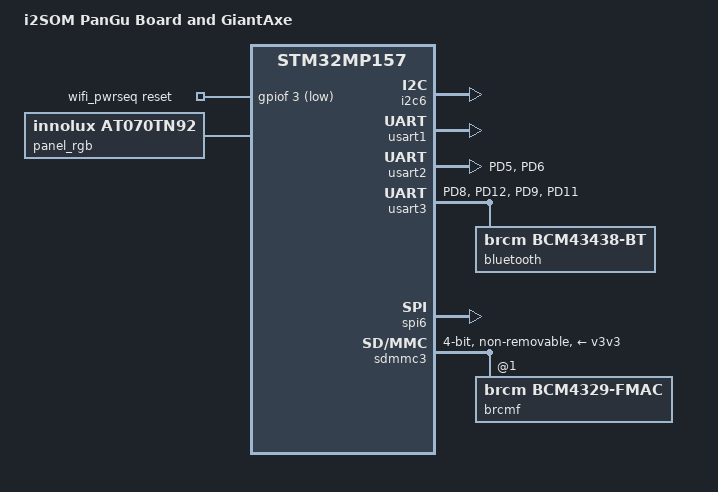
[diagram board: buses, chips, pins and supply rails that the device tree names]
// SPDX-License-Identifier: (GPL-2.0+ OR BSD-3-Clause)
/*
 * Copyright (C) i2SOM 2018 - All Rights Reserved
 * Author: Steve Chen <steve.chen@i2som.tech>.
 */

/dts-v1/;

#include "stm32mp157a-panguboard-lcd.dts"

/ {
	model = "i2SOM PanGu Board and GiantAxe";
	compatible = "i2som,panguboard", "st,stm32mp157";

	aliases {
		serial0 = &uart4;
		serial3 = &usart1;
		serial1 = &usart2;
		serial2 = &usart3;
		serial4 = &uart5;
	};

	wifi_pwrseq: wifi-pwrseq {
		compatible = "mmc-pwrseq-simple";
		reset-gpios = <&gpiof 3 GPIO_ACTIVE_LOW>;
	};
};

&panel_rgb {
	compatible = "innolux,at070tn92";
};

&pinctrl {

	usart3_pins_c: usart3-2 {
		pins1 {
			pinmux = <STM32_PINMUX('D', 8, AF7)>, /* USART3_TX */
				 <STM32_PINMUX('D', 12, AF7)>; /* USART3_RTS */
			bias-disable;
			drive-push-pull;
			slew-rate = <0>;
		};
		pins2 {
			pinmux = <STM32_PINMUX('D', 9, AF7)>, /* USART3_RX */
				 <STM32_PINMUX('D', 11, AF7)>; /* USART3_CTS_NSS */
			bias-disable;
		};
	};

	usart3_idle_pins_c: usart3-idle-2 {
		pins1 {
			pinmux = <STM32_PINMUX('D', 8, ANALOG)>, /* USART3_TX */
				 <STM32_PINMUX('D', 12, ANALOG)>, /* USART3_RTS */
				 <STM32_PINMUX('D', 11, ANALOG)>; /* USART3_CTS_NSS */
		};
		pins2 {
			pinmux = <STM32_PINMUX('D', 9, AF7)>; /* USART3_RX */
			bias-disable;
		};
	};

	usart3_sleep_pins_c: usart3-sleep-2 {
		pins {
			pinmux = <STM32_PINMUX('D', 8, ANALOG)>, /* USART3_TX */
				 <STM32_PINMUX('D', 12, ANALOG)>, /* USART3_RTS */
				 <STM32_PINMUX('D', 11, ANALOG)>, /* USART3_CTS_NSS */
				 <STM32_PINMUX('D', 9, ANALOG)>; /* USART3_RX */
		};
	};

	bt_reg: bt_reg_on-1 {
		pins {
			pinmux = <STM32_PINMUX('D', 14, GPIO)>;
			drive-push-pull;
			bias-pull-up;
			output-high;
			slew-rate = <0>;
		};
	};

	usart2_pins_b: usart2-b-0 {
		pins1 {
			pinmux = <STM32_PINMUX('D', 5, AF7)>; /* USART2_TX */
			bias-disable;
			drive-push-pull;
			slew-rate = <0>;
		};
		pins2 {
			pinmux = <STM32_PINMUX('D', 6, AF7)>; /* USART2_RX */
			bias-disable;
		};
	};

	usart2_idle_pins_b: usart2-idle-b-0 {
		pins1 {
			pinmux = <STM32_PINMUX('D', 5, ANALOG)>; /* USART2_TX */
		};
		pins2 {
			pinmux = <STM32_PINMUX('D', 6, AF7)>; /* USART2_RX */
			bias-disable;
		};
	};

	usart2_sleep_pins_b: usart2-sleep-b-0 {
		pins {
			pinmux = <STM32_PINMUX('D', 5, ANALOG)>, /* USART2_TX */
				 <STM32_PINMUX('D', 6, ANALOG)>; /* USART2_RX */
		};
	};

};

&pinctrl_z {
	usart1_pins_a: usart1-0 {
		pins1 {
			pinmux = <STM32_PINMUX('Z', 7, AF7)>; /* USART1_TX */
			bias-disable;
			drive-push-pull;
			slew-rate = <0>;
		};
		pins2 {
			pinmux = <STM32_PINMUX('Z', 6, AF7)>; /* USART1_RX */
			bias-disable;
		};
	};

	usart1_idle_pins_a: usart1-idle-0 {
		pins1 {
			pinmux = <STM32_PINMUX('Z', 7, ANALOG)>; /* USART1_TX */
		};
		pins2 {
			pinmux = <STM32_PINMUX('Z', 6, AF7)>; /* USART1_RX */
			bias-disable;
		};
	};

	usart1_sleep_pins_a: usart1-sleep-0 {
		pins {
			pinmux = <STM32_PINMUX('Z', 7, ANALOG)>, /* USART1_TX */
				 <STM32_PINMUX('Z', 6, ANALOG)>; /* USART1_RX */
		};
	};

	i2c6_pins_a: i2c6-0 {
		pins {
			pinmux = <STM32_PINMUX('Z', 4, AF2)>, /* I2C6_SCL */
				 <STM32_PINMUX('Z', 5, AF2)>; /* I2C6_SDA */
			bias-disable;
			drive-open-drain;
			slew-rate = <0>;
		};
	};

	i2c6_pins_sleep_a: i2c6-1 {
		pins {
			pinmux = <STM32_PINMUX('Z', 4, ANALOG)>, /* I2C6_SCL */
				 <STM32_PINMUX('Z', 5, ANALOG)>; /* I2C6_SDA */
		};
	};

	spi6_pins_a: spi6-0 {
		pins1 {
			pinmux = <STM32_PINMUX('Z', 0, AF8)>, /* SPI4_SCK */
				 <STM32_PINMUX('Z', 2, AF8)>; /* SPI4_MOSI */
				 bias-disable;
				 drive-push-pull;
				 slew-rate = <1>;
		};

		pins2 {
			pinmux = <STM32_PINMUX('Z', 1, AF8)>; /* SPI4_MISO */
		        bias-disable;
		};
	};

	spi6_sleep_pins_a: spi6-sleep-0 {
		pins {
			pinmux = <STM32_PINMUX('Z', 0, ANALOG)>, /* SPI4_SCK */
				 <STM32_PINMUX('Z', 1, ANALOG)>, /* SPI4_MISO */
				 <STM32_PINMUX('Z', 2, ANALOG)>; /* SPI4_MOSI */
		};
	};
};

&i2c6 {
	pinctrl-names = "default", "sleep";
	pinctrl-0 = <&i2c6_pins_a>;
	pinctrl-1 = <&i2c6_pins_sleep_a>;
	i2c-scl-rising-time-ns = <100>;
	i2c-scl-falling-time-ns = <7>;
	status = "okay";
	/delete-property/dmas;
	/delete-property/dma-names;

};

&usart1 {
	pinctrl-names = "default", "sleep", "idle";
	pinctrl-0 = <&usart1_pins_a>;
	pinctrl-1 = <&usart1_sleep_pins_a>;
	pinctrl-2 = <&usart1_idle_pins_a>;
	status = "okay";
};

&usart2 {
	pinctrl-names = "default", "sleep", "idle";
	pinctrl-0 = <&usart2_pins_b>;
	pinctrl-1 = <&usart2_sleep_pins_b>;
	pinctrl-2 = <&usart2_idle_pins_b>;
	status = "okay";
};

&usart3 {
	pinctrl-names = "default", "sleep", "idle";
	pinctrl-0 = <&usart3_pins_c>;
	pinctrl-1 = <&usart3_sleep_pins_c>;
	pinctrl-2 = <&usart3_idle_pins_c>;
	st,hw-flow-ctrl;
	status = "okay";

	bluetooth {
		pinctrl-names = "default";
		pinctrl-0 = <&bt_reg>;
		compatible = "brcm,bcm43438-bt";
		max-speed = <3000000>;
	};

};

&uart5 {
	rs485de-gpios = <&gpiog 9 1>;
};

&spi6 {
	pinctrl-names = "default", "sleep";
	pinctrl-0 = <&spi6_pins_a>;
	pinctrl-1 = <&spi6_sleep_pins_a>;
	cs-gpios = <&gpioz 3 0>;
	status = "okay";
};

/* WiFi module */
&sdmmc3 {
	arm,primecell-periphid = <0x10153180>;
	pinctrl-names = "default", "opendrain", "sleep";
	pinctrl-0 = <&sdmmc3_b4_pins_a>;
	pinctrl-1 = <&sdmmc3_b4_od_pins_a>;
	pinctrl-2 = <&sdmmc3_b4_sleep_pins_a>;
	vmmc-supply = <&v3v3>;
	mmc-pwrseq = <&wifi_pwrseq>;
	non-removable;
	st,neg-edge;
	#address-cells = <1>;
	#size-cells = <0>;
	keep-power-in-suspend;
	bus-width = <4>;
	no-1-8-v;
	status = "okay";

	brcmf: bcrmf@1 {
		reg = <1>;
		compatible = "brcm,bcm4329-fmac";
	};
};
